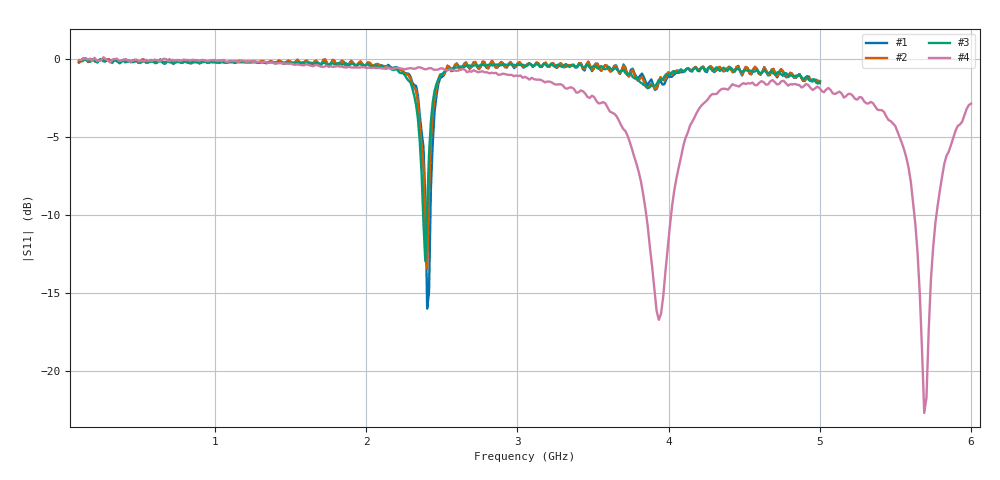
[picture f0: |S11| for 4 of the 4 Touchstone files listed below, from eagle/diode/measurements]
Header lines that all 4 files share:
!Agilent Technologies,E8362C,MY49020251,A.08.50.10
!Agilent E8362C: A.08.50.10
!Correction: S11(Full 1 Port(1))
!S1P File: Measurement: S11:
# Hz S  dB  R 50
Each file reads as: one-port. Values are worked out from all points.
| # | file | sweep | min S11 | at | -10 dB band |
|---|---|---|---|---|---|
| 1 | 2.4ghz_0dBm_100mV.s1p | 100 MHz to 5 GHz | -16.0 dB | 2.403 GHz | 31.7 MHz wide |
| 2 | 2.4ghz_minus10dBm_100mV.s1p | 100 MHz to 5 GHz | -13.4 dB | 2.403 GHz | 22.75 MHz wide |
| 3 | 2.4ghz_minus20dBm_100mV.s1p | 100 MHz to 5 GHz | -12.9 dB | 2.391 GHz | 24.6 MHz wide |
| 4 | diode_TL_only.s1p | 100 MHz to 6 GHz | -22.7 dB | 5.69 GHz | 163.6 MHz wide |
